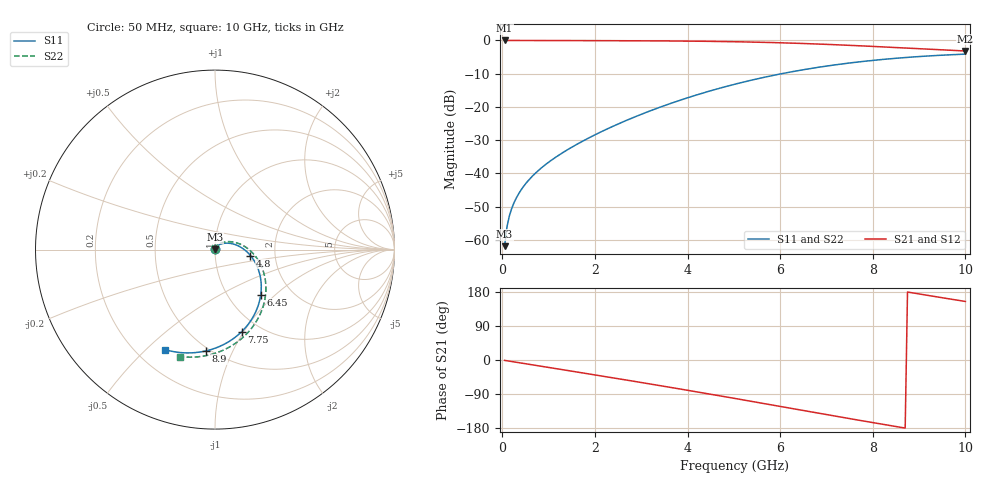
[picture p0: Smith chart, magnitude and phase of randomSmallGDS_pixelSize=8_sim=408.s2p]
! freq	dB(S11)	phase(S11)	dB(S12)	phase(S12)
!  dB(S21)	phase(S21)	dB(S22)	phase(S22)
!S-par simulation data
#  GHz  S  DB  R 50
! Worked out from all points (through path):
!   200 points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, 50 MHz to 10 GHz, reference 50 ohm
!   highest |S21| = 0.00 dB at 50 MHz (marker M1); lowest = -3.2 dB at 10 GHz (marker M2)
!   group delay of S21, straight-line fit = 57.8 ps
!   lowest |S11| = -61.9 dB at 50 MHz (marker M3), VSWR 1.00, Z = 50 + j0.0798 ohm
!   |S11| at or under -10 dB: start of sweep to 6.032 GHz
!   |S22| runs from -62.6 to -4.1 dB; largest |S21 - S12| = 0
!   S11 on the Smith chart (normalised r, x): 50 MHz: 1.00, +0.00; 4.8 GHz: 1.49, -0.10; 6.45 GHz: 1.41, -0.81; 7.75 GHz: 0.83, -0.98; 8.9 GHz: 0.48, -0.79; 10 GHz: 0.32, -0.58
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0.05  -61.88 82.1  -0.00 -1.0  -0.00 -1.0  -62.59 83.9
0.1  -56.14 81.0  -0.00 -2.0  -0.00 -2.0  -56.64 84.3
0.15  -52.92 79.6  -0.00 -3.0  -0.00 -3.0  -53.19 83.5
0.2  -50.66 78.7  -0.00 -4.0  -0.00 -4.0  -50.78 82.5
0.3  -47.45 77.5  -0.01 -5.9  -0.01 -5.9  -47.40 80.8
0.45  -44.08 75.8  -0.01 -8.9  -0.01 -8.9  -43.99 78.6
0.65  -40.81 73.0  -0.02 -12.8  -0.02 -12.8  -40.75 75.9
0.95  -37.15 67.9  -0.03 -18.7  -0.03 -18.7  -37.12 71.7
1.75  -30.18 52.7  -0.05 -34.4  -0.05 -34.4  -30.16 58.3
2.6  -24.52 35.8  -0.08 -51.3  -0.08 -51.3  -24.49 42.3
3.4  -20.10 19.6  -0.13 -67.5  -0.13 -67.5  -20.07 26.3
4.1  -16.80 5.2  -0.21 -82.0  -0.21 -82.0  -16.77 11.9
4.8  -13.97 -9.5  -0.33 -96.7  -0.33 -96.7  -13.93 -2.8
5.05  -13.06 -14.7  -0.39 -102.0  -0.39 -102.0  -13.02 -8.1
5.7  -10.95 -28.6  -0.58 -116.0  -0.58 -116.0  -10.91 -22.0
6.45  -8.93 -44.6  -0.89 -132.2  -0.89 -132.2  -8.88 -37.9
6.7  -8.34 -49.9  -1.01 -137.6  -1.01 -137.6  -8.30 -43.2
7.2  -7.31 -60.5  -1.29 -148.3  -1.29 -148.3  -7.27 -53.7
7.75  -6.37 -71.9  -1.62 -160.0  -1.62 -160.0  -6.32 -65.0
8.35  -5.54 -84.1  -2.03 -172.5  -2.03 -172.5  -5.49 -77.0
8.9  -4.93 -95.1  -2.41 176.3  -2.41 176.3  -4.88 -87.7
10  -4.11 -116.3  -3.17 154.5  -3.17 154.5  -4.05 -108.1
